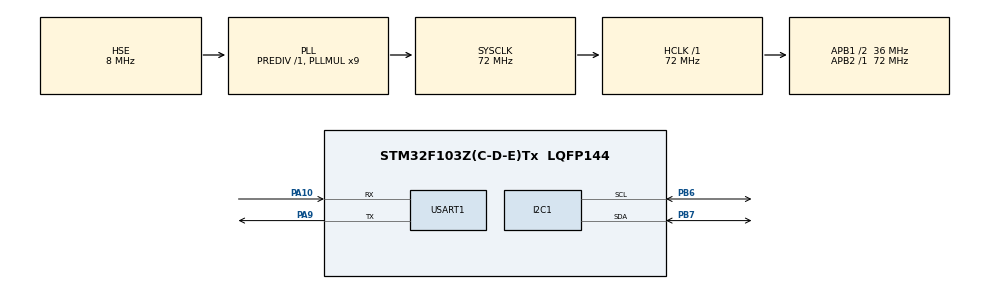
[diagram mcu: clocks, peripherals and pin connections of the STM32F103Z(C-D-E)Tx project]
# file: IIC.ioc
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Mcu.Family=STM32F1
Mcu.Name=STM32F103Z(C-D-E)Tx
Mcu.Package=LQFP144
NVIC.PriorityGroup=NVIC_PRIORITYGROUP_4
NVIC.USART1_IRQn=true\:0\:0\:false\:false\:true\:true\:true
OSC_IN.Mode=HSE-External-Oscillator
OSC_IN.Signal=RCC_OSC_IN
OSC_OUT.Mode=HSE-External-Oscillator
OSC_OUT.Signal=RCC_OSC_OUT
PA10.Mode=Asynchronous
PA10.Signal=USART1_RX
PA9.Mode=Asynchronous
PA9.Signal=USART1_TX
PB6.Mode=I2C
PB6.Signal=I2C1_SCL
PB7.Mode=I2C
PB7.Signal=I2C1_SDA
ProjectManager.HeapSize=0x200
ProjectManager.StackSize=0x400
ProjectManager.TargetToolchain=MDK-ARM V5
RCC.AHBFreq_Value=72000000
RCC.APB1CLKDivider=RCC_HCLK_DIV2
RCC.APB1Freq_Value=36000000
RCC.APB1TimFreq_Value=72000000
RCC.APB2Freq_Value=72000000
RCC.APB2TimFreq_Value=72000000
RCC.EnbaleCSS=true
RCC.HCLKFreq_Value=72000000
RCC.PLLMUL=RCC_PLL_MUL9
RCC.PLLSourceVirtual=RCC_PLLSOURCE_HSE
RCC.SYSCLKFreq_VALUE=72000000
RCC.SYSCLKSource=RCC_SYSCLKSOURCE_PLLCLK
RCC.USBFreq_Value=72000000
USART1.VirtualMode=VM_ASYNC
VP_SYS_VS_ND.Mode=No_Debug
board=custom

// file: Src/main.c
/* USER CODE BEGIN Header */
/**
  ******************************************************************************
  * @file           : main.c
  * @brief          : Main program body
  ******************************************************************************
  * @attention
  *
  * <h2><center>&copy; Copyright (c) 2020 STMicroelectronics.
  * All rights reserved.</center></h2>
  *
  * This software component is licensed by ST under BSD 3-Clause license,
  * the "License"; You may not use this file except in compliance with the
  * License. You may obtain a copy of the License at:
  *                        opensource.org/licenses/BSD-3-Clause
  *
  ******************************************************************************
  */
/* USER CODE END Header */

#include "main.h"
#include "i2c.h"
#include "usart.h"
#include "gpio.h"
# include <string.h>

void SystemClock_Config(void);

/* USER CODE BEGIN 0 */

/* Private variables ---------------------------------------------------------*/
#define ADDR_24LCxx_Write 0xA0
#define ADDR_24LCxx_Read 0xA1
#define BufferSize 256
uint8_t WriteBuffer[BufferSize],ReadBuffer[BufferSize];
uint16_t i;

/* USER CODE END 0 */

int main(void)
{

  /* MCU Configuration--------------------------------------------------------*/

  /* Reset of all peripherals, Initializes the Flash interface and the Systick. */
  HAL_Init();

  /* Configure the system clock */
  SystemClock_Config();

  /* Initialize all configured peripherals */
  MX_GPIO_Init();
  MX_I2C1_Init();
  MX_USART1_UART_Init();

  /* Infinite loop */
		for(i=0; i<256; i++)
    WriteBuffer[i]=i;    /* WriteBuffer init */

/* USER CODE BEGIN 2 */
		printf("\r\n***************I2C Example*******************************\r\n");
			for (int j=0; j<32; j++)
        {
                if(HAL_I2C_Mem_Write(&hi2c1, ADDR_24LCxx_Write, 8*j, I2C_MEMADD_SIZE_8BIT,WriteBuffer+8*j,8, 1000) == HAL_OK)
                {
                                printf("\r\n EEPROM 24C02 Write Test OK \r\n");
                        HAL_Delay(20);
                }
                else
                {
                         HAL_Delay(20);
                                printf("\r\n EEPROM 24C02 Write Test False \r\n");
                }
				}
		HAL_I2C_Mem_Read(&hi2c1, ADDR_24LCxx_Read, 0, I2C_MEMADD_SIZE_8BIT,ReadBuffer,BufferSize, 0xff);

		for(i=0; i<256; i++)

				printf("0x%02X  ",ReadBuffer[i]);
  while (1)
  {

		//if(memcmp(WriteBuffer,ReadBuffer,BufferSize) == 0 ) /* check date */

		//		printf("\r\n EEPROM 24C02 Read Test OK\r\n");

	//	else

		//		printf("\r\n EEPROM 24C02 Read Test False\r\n");

/* USER CODE END 2 */

/* USER CODE END 2 */
  }
}

void SystemClock_Config(void)
{
  RCC_OscInitTypeDef RCC_OscInitStruct = {0};
  RCC_ClkInitTypeDef RCC_ClkInitStruct = {0};

  /** Initializes the CPU, AHB and APB busses clocks
  */
  RCC_OscInitStruct.OscillatorType = RCC_OSCILLATORTYPE_HSE;
  RCC_OscInitStruct.HSEState = RCC_HSE_ON;
  RCC_OscInitStruct.HSEPredivValue = RCC_HSE_PREDIV_DIV1;
  RCC_OscInitStruct.HSIState = RCC_HSI_ON;
  RCC_OscInitStruct.PLL.PLLState = RCC_PLL_ON;
  RCC_OscInitStruct.PLL.PLLSource = RCC_PLLSOURCE_HSE;
  RCC_OscInitStruct.PLL.PLLMUL = RCC_PLL_MUL9;
  if (HAL_RCC_OscConfig(&RCC_OscInitStruct) != HAL_OK)
  {
    Error_Handler();
  }
  /** Initializes the CPU, AHB and APB busses clocks
  */
  RCC_ClkInitStruct.ClockType = RCC_CLOCKTYPE_HCLK|RCC_CLOCKTYPE_SYSCLK
                              |RCC_CLOCKTYPE_PCLK1|RCC_CLOCKTYPE_PCLK2;
  RCC_ClkInitStruct.SYSCLKSource = RCC_SYSCLKSOURCE_PLLCLK;
  RCC_ClkInitStruct.AHBCLKDivider = RCC_SYSCLK_DIV1;
  RCC_ClkInitStruct.APB1CLKDivider = RCC_HCLK_DIV2;
  RCC_ClkInitStruct.APB2CLKDivider = RCC_HCLK_DIV1;

  if (HAL_RCC_ClockConfig(&RCC_ClkInitStruct, FLASH_LATENCY_2) != HAL_OK)
  {
    Error_Handler();
  }
  /** Enables the Clock Security System
  */
  HAL_RCC_EnableCSS();
}

void Error_Handler(void)
{
}

/************************ (C) COPYRIGHT STMicroelectronics *****END OF FILE****/
